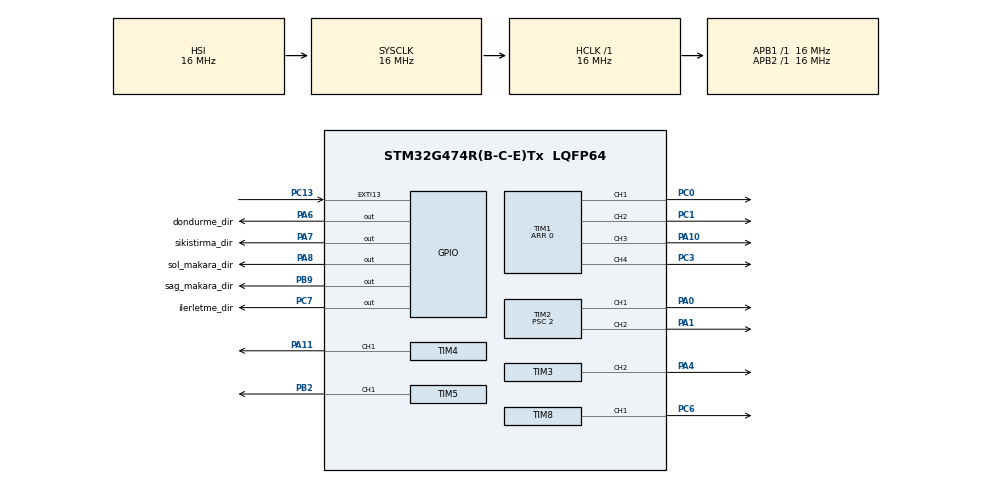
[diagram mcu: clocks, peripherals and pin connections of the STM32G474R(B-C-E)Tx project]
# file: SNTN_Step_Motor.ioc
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Mcu.Family=STM32G4
Mcu.Name=STM32G474R(B-C-E)Tx
Mcu.Package=LQFP64
NVIC.EXTI15_10_IRQn=true\:0\:0\:false\:false\:true\:true\:true\:true
NVIC.PriorityGroup=NVIC_PRIORITYGROUP_4
NVIC.TIM2_IRQn=true\:0\:0\:false\:false\:true\:true\:true\:true
NVIC.TIM3_IRQn=true\:0\:0\:false\:false\:true\:true\:true\:true
NVIC.TIM4_IRQn=true\:0\:0\:false\:false\:true\:true\:true\:true
NVIC.TIM5_IRQn=true\:0\:0\:false\:false\:true\:true\:true\:true
PA0.Signal=S_TIM2_CH1
PA1.Signal=S_TIM2_CH2
PA10.Signal=S_TIM1_CH3
PA11.Signal=S_TIM4_CH1
PA13.Mode=Serial_Wire
PA13.Signal=SYS_JTMS-SWDIO
PA14.Mode=Serial_Wire
PA14.Signal=SYS_JTCK-SWCLK
PA4.Signal=S_TIM3_CH2
PA6.GPIO_Label=dondurme_dir
PA6.Signal=GPIO_Output
PA7.GPIO_Label=sikistirma_dir
PA7.Signal=GPIO_Output
PA8.GPIO_Label=sol_makara_dir
PA8.Signal=GPIO_Output
PB2.Signal=S_TIM5_CH1
PB9.GPIO_Label=sag_makara_dir
PB9.Signal=GPIO_Output
PC0.Signal=S_TIM1_CH1
PC1.Signal=S_TIM1_CH2
PC13.Signal=GPXTI13
PC3.Signal=S_TIM1_CH4
PC6.Signal=S_TIM8_CH1
PC7.GPIO_Label=ilerletme_dir
PC7.Signal=GPIO_Output
ProjectManager.HeapSize=0x200
ProjectManager.StackSize=0x400
ProjectManager.TargetToolchain=STM32CubeIDE
RCC.AHBFreq_Value=16000000
RCC.APB1Freq_Value=16000000
RCC.APB1TimFreq_Value=16000000
RCC.APB2Freq_Value=16000000
RCC.APB2TimFreq_Value=16000000
RCC.CortexFreq_Value=16000000
RCC.EXTERNAL_CLOCK_VALUE=12288000
RCC.HCLKFreq_Value=16000000
RCC.HSE_VALUE=8000000
RCC.HSI48_VALUE=48000000
RCC.HSI_VALUE=16000000
RCC.LSE_VALUE=32768
RCC.SYSCLKFreq_VALUE=16000000
RCC.USBFreq_Value=64000000
RCC.VCOOutputFreq_Value=128000000
SH.S_TIM1_CH1.0=TIM1_CH1,Output Compare1 CH1
SH.S_TIM1_CH2.0=TIM1_CH2,Output Compare2 CH2
SH.S_TIM1_CH3.0=TIM1_CH3,Output Compare3 CH3
SH.S_TIM1_CH4.0=TIM1_CH4,Output Compare4 CH4
SH.S_TIM2_CH1.0=TIM2_CH1,PWM Generation1 CH1
SH.S_TIM2_CH2.0=TIM2_CH2,PWM Generation2 CH2
SH.S_TIM3_CH2.0=TIM3_CH2,PWM Generation2 CH2
SH.S_TIM4_CH1.0=TIM4_CH1,PWM Generation1 CH1
SH.S_TIM5_CH1.0=TIM5_CH1,PWM Generation1 CH1
SH.S_TIM8_CH1.0=TIM8_CH1,Output Compare1 CH1
TIM1.Channel-Output\ Compare1\ CH1=TIM_CHANNEL_1
TIM1.Channel-Output\ Compare2\ CH2=TIM_CHANNEL_2
TIM1.Channel-Output\ Compare3\ CH3=TIM_CHANNEL_3
TIM1.Channel-Output\ Compare4\ CH4=TIM_CHANNEL_4
TIM1.PeriodNoDither=0
TIM2.Channel-PWM\ Generation1\ CH1=TIM_CHANNEL_1
TIM2.Channel-PWM\ Generation2\ CH2=TIM_CHANNEL_2
TIM2.PeriodNoDither=65535
TIM2.Prescaler=2
TIM3.Channel-PWM\ Generation2\ CH2=TIM_CHANNEL_2
TIM3.PeriodNoDither=65535
TIM3.Prescaler=2
TIM4.Channel-PWM\ Generation1\ CH1=TIM_CHANNEL_1
TIM4.PeriodNoDither=65535
TIM4.Prescaler=1
TIM5.Channel-PWM\ Generation1\ CH1=TIM_CHANNEL_1
TIM5.PeriodNoDither=65535
TIM5.Prescaler=2
TIM8.Channel-Output\ Compare1\ CH1=TIM_CHANNEL_1
TIM8.PeriodNoDither=0
board=custom

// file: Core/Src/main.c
/* USER CODE BEGIN Header */
/**
  ******************************************************************************
  * @file           : main.c
  * @brief          : Main program body
  ******************************************************************************
  * @attention
  *
  * Copyright (c) 2023 STMicroelectronics.
  * All rights reserved.
  *
  * This software is licensed under terms that can be found in the LICENSE file
  * in the root directory of this software component.
  * If no LICENSE file comes with this software, it is provided AS-IS.
  *
  ******************************************************************************
  */
/* USER CODE END Header */
#include "main.h"

/* USER CODE BEGIN PD */
#define STEP3 600
#define STEP1 1250
#define STEP2 1400
/* USER CODE END PD */

TIM_HandleTypeDef htim1;
TIM_HandleTypeDef htim2;
TIM_HandleTypeDef htim3;
TIM_HandleTypeDef htim4;
TIM_HandleTypeDef htim5;
TIM_HandleTypeDef htim8;

/* USER CODE BEGIN PV */

int step1;
int step2;
int step3;
int step4;
int step5;

int step_number_1;
int step_number_2;
int step_number_3;
int step_number_4;
int step_number_5;

int step=0,durum=0,sayac=0;
int step_2 =0,durum_2 = 0, sayac_2=0;
int step_3 =0,durum_3 = 0, sayac_3=0;
int step_4 =0,durum_4 = 0, sayac_4=0;
int step_5 =0,durum_5 = 0, sayac_5=0;

int second_stage;
/* USER CODE END PV */

void SystemClock_Config(void);
static void MX_GPIO_Init(void);
static void MX_TIM2_Init(void);
static void MX_TIM3_Init(void);
static void MX_TIM4_Init(void);
static void MX_TIM5_Init(void);
static void MX_TIM1_Init(void);
static void MX_TIM8_Init(void);
/* USER CODE BEGIN PFP */
void HAL_GPIO_EXTI_Callback(uint16_t GPIO_Pin){
	HAL_TIM_PWM_Stop(&htim4, TIM_CHANNEL_1);
	second_stage = 1;
}
void HAL_TIM_PWM_PulseFinishedCallback(TIM_HandleTypeDef *htim)
{
	if(htim->Instance == TIM2) // eger kesme kaynagi timer1 den gelmis ise
	{
																// step fonksiyonunun içindeki while döngüsünden çikilmasi için
																							// durum degiskeni sifirlandi
	if(htim ->Channel == HAL_TIM_ACTIVE_CHANNEL_1)
	{
		sayac++;								// her kesmede sayaci arttir.
		if(sayac == step)				// eger sayac istenilen adim sayisi kadar artmis ise
		{
			HAL_TIM_PWM_Stop_IT(&htim2,TIM_CHANNEL_1);	// PWM'i durdur.
			sayac=0;																// bir sonraki komutta sayac sifirdan baslamali
			durum=0;

		}
	}

	if(htim ->Channel == HAL_TIM_ACTIVE_CHANNEL_2)
	{
		sayac_2++;								// her kesmede sayaci arttir.
		if(sayac_2 == step_2)				// eger sayac istenilen adim sayisi kadar artmis ise
		{
			HAL_TIM_PWM_Stop_IT(&htim2,TIM_CHANNEL_2);	// PWM'i durdur.
			sayac_2=0;																// bir sonraki komutta sayac sifirdan baslamali
			durum_2=0;
		}

	}
	}
	else if(htim ->Instance == TIM3)
	{
		sayac_3++;								// her kesmede sayaci arttir.
		if(sayac_3 == step_3)				// eger sayac istenilen adim sayisi kadar artmis ise
		{
			HAL_TIM_PWM_Stop_IT(&htim3,TIM_CHANNEL_2);	// PWM'i durdur.
			sayac_3=0;																// bir sonraki komutta sayac sifirdan baslamali
			durum_3=0;
		}
	}
	else if(htim ->Instance == TIM4)
	{
		sayac_4++;								// her kesmede sayaci arttir.
		if(sayac_4 == step_4)				// eger sayac istenilen adim sayisi kadar artmis ise
		{
			HAL_TIM_PWM_Stop_IT(&htim4,TIM_CHANNEL_1);	// PWM'i durdur.
			sayac_4=0;																// bir sonraki komutta sayac sifirdan baslamali
			durum_4=0;
		}

	}
	else if(htim ->Instance == TIM5)
	{
		sayac_5++;								// her kesmede sayaci arttir.
		if(sayac_5 == step_5)				// eger sayac istenilen adim sayisi kadar artmis ise
		{
			HAL_TIM_PWM_Stop_IT(&htim5,TIM_CHANNEL_1);	// PWM'i durdur.
			sayac_5=0;																// bir sonraki komutta sayac sifirdan baslamali
			durum_5=0;
		}

	}
	}

void Step(int adim ,int yon)  // step motor fonksiyonu. iki adet parametre alicak. Pals ve yön parametreleri
{
	// Baştan sona 4000 adım
	// 1 içeri
	// 0 dışarı
	step=adim;
	if(yon==0)
		HAL_GPIO_WritePin(GPIOB,GPIO_PIN_9,GPIO_PIN_RESET);	// eger yön bilgisi sifir ise DIR pini lojik 0 yapildi.
	else
		HAL_GPIO_WritePin(GPIOB,GPIO_PIN_9,GPIO_PIN_SET);	// sifirdan farkli bir deger ise DIR pini lojik 1 yapildi.
	durum=1;
	HAL_TIM_PWM_Start_IT(&htim2,TIM_CHANNEL_1);	// PWM'i baslatildi.
	while(1) // step motorun istenilen konuma gitmesi için belli bir süre gececek
	{						//	bu süre boyunca programin tekrar step fonksiyonunun içine girmesini önlemek için sonsuz döngü olusturuldu.
		if(durum==0)					// step motor istenilen konuma gittiginde durum degiskeni sifir olacak ve döngüden çikilacak.
			break;
		HAL_Delay(1);

	}

}

void Step_2(int adim_2 ,int yon_2)  // step motor fonksiyonu. iki adet parametre alicak. Pals ve yön parametreleri
{
	// Baştan sona 4500 step
	// 1 içeri
	// 0 dışarı
	step_2=adim_2;
	if(yon_2==0)
		HAL_GPIO_WritePin(GPIOA,GPIO_PIN_8,GPIO_PIN_RESET);	// eger yön bilgisi sifir ise DIR pini lojik 0 yapildi.
	else
		HAL_GPIO_WritePin(GPIOA,GPIO_PIN_8,GPIO_PIN_SET);	// sifirdan farkli bir deger ise DIR pini lojik 1 yapildi.
	durum_2=1;
	HAL_TIM_PWM_Start_IT(&htim2,TIM_CHANNEL_2);	// PWM'i baslatildi.
	while(1) // step motorun istenilen konuma gitmesi için belli bir süre gececek
	{						//	bu süre boyunca programin tekrar step fonksiyonunun içine girmesini önlemek için sonsuz döngü olusturuldu.
		if(durum_2==0)					// step motor istenilen konuma gittiginde durum degiskeni sifir olacak ve döngüden çikilacak.
			break;
		HAL_Delay(1);

	}

}

void Step_3(int adim_3 ,int yon_3)  // step motor fonksiyonu. iki adet parametre alicak. Pals ve yön parametreleri
{
	step_3=adim_3;
	if(yon_3==0)
		HAL_GPIO_WritePin(GPIOA,GPIO_PIN_7,GPIO_PIN_RESET);	// eger yön bilgisi sifir ise DIR pini lojik 0 yapildi.
	else
		HAL_GPIO_WritePin(GPIOA,GPIO_PIN_7,GPIO_PIN_SET);	// sifirdan farkli bir deger ise DIR pini lojik 1 yapildi.
	durum_3=1;
	HAL_TIM_PWM_Start_IT(&htim3,TIM_CHANNEL_2);	// PWM'i baslatildi.
	while(1) // step motorun istenilen konuma gitmesi için belli bir süre gececek
	{						//	bu süre boyunca programin tekrar step fonksiyonunun içine girmesini önlemek için sonsuz döngü olusturuldu.
		if(durum_3==0)					// step motor istenilen konuma gittiginde durum degiskeni sifir olacak ve döngüden çikilacak.
			break;
		HAL_Delay(1);

	}

}

void Step_4(int adim_4 ,int yon_4)  // step motor fonksiyonu. iki adet parametre alicak. Pals ve yön parametreleri
{
	step_4=adim_4;
	if(yon_4==0)
		HAL_GPIO_WritePin(GPIOA,GPIO_PIN_6,GPIO_PIN_RESET);	// eger yön bilgisi sifir ise DIR pini lojik 0 yapildi.
	else
		HAL_GPIO_WritePin(GPIOA,GPIO_PIN_6,GPIO_PIN_SET);	// sifirdan farkli bir deger ise DIR pini lojik 1 yapildi.
	durum_4=1;
	HAL_TIM_PWM_Start_IT(&htim4,TIM_CHANNEL_1);	// PWM'i baslatildi.
	while(1) // step motorun istenilen konuma gitmesi için belli bir süre gececek
	{						//	bu süre boyunca programin tekrar step fonksiyonunun içine girmesini önlemek için sonsuz döngü olusturuldu.
		if(durum_4==0)					// step motor istenilen konuma gittiginde durum degiskeni sifir olacak ve döngüden çikilacak.
			break;
		HAL_Delay(1);

	}

}

void Step_5(int adim_5 ,int yon_5)  // step motor fonksiyonu. iki adet parametre alicak. Pals ve yön parametreleri
{
	step_5=adim_5;
	if(yon_5==0)
		HAL_GPIO_WritePin(GPIOC,GPIO_PIN_7,GPIO_PIN_RESET);	// eger yön bilgisi sifir ise DIR pini lojik 0 yapildi.
	else
		HAL_GPIO_WritePin(GPIOC,GPIO_PIN_7,GPIO_PIN_SET);	// sifirdan farkli bir deger ise DIR pini lojik 1 yapildi.
	durum_5=1;
	HAL_TIM_PWM_Start_IT(&htim5,TIM_CHANNEL_1);	// PWM'i baslatildi.
	while(1) // step motorun istenilen konuma gitmesi için belli bir süre gececek
	{						//	bu süre boyunca programin tekrar step fonksiyonunun içine girmesini önlemek için sonsuz döngü olusturuldu.
		if(durum_5==0)					// step motor istenilen konuma gittiginde durum degiskeni sifir olacak ve döngüden çikilacak.
			break;
		HAL_Delay(1);

	}

}

void Determine_direction(int motor,int direction) {
	/*
	* Used to determine the direction of the motors
	*/
	if (motor == 1) {
		if (direction) {
			HAL_GPIO_WritePin(GPIOB, GPIO_PIN_9, GPIO_PIN_SET);
		}
		else {
			HAL_GPIO_WritePin(GPIOB, GPIO_PIN_9, GPIO_PIN_RESET);
		}
	}
	else if (motor == 2) {
		if (direction) {
			HAL_GPIO_WritePin(GPIOA, GPIO_PIN_8, GPIO_PIN_SET);
			}
		else {
			HAL_GPIO_WritePin(GPIOA, GPIO_PIN_8, GPIO_PIN_RESET);
			}
	}
	else if (motor == 3) {
			if (direction) {
				HAL_GPIO_WritePin(GPIOA, GPIO_PIN_7, GPIO_PIN_SET);
				}
			else {
				HAL_GPIO_WritePin(GPIOA, GPIO_PIN_7, GPIO_PIN_RESET);
				}
		}
	else if (motor == 4) {
			if (direction) {
				HAL_GPIO_WritePin(GPIOA, GPIO_PIN_6, GPIO_PIN_SET);
				}
			else {
				HAL_GPIO_WritePin(GPIOA, GPIO_PIN_6, GPIO_PIN_RESET);
				}
		}
	else if (motor == 5) {
			if (direction) {
				HAL_GPIO_WritePin(GPIOC, GPIO_PIN_7, GPIO_PIN_SET);
				}
			else {
				HAL_GPIO_WritePin(GPIOC, GPIO_PIN_7, GPIO_PIN_RESET);
				}
		}
}

void Multiple_Rotate(int motor,int step, int direction) {
	/*
	 * Used to determine the number of steps the motor will take
	 * motor is used to determine which motor will rotate
	 * Integer number step represents the number of steps for the motor
	 * direction is used to change the directions of the motors (0 for clockwise, something else represents counterclockwise
	 * direction)
	 * If the step value is given as 0, the motor rotates continuously
	*/
	if (motor == 1){
	step1 = 0;
	Determine_direction(motor, direction);
	step_number_1 = step;
	HAL_TIM_PWM_Start_IT(&htim2, TIM_CHANNEL_1);
	}
	else if (motor == 2) {
	step2 = 0;
	Determine_direction(motor, direction);
	step_number_2 = step;
	HAL_TIM_PWM_Start_IT(&htim2, TIM_CHANNEL_2);
	}
	else if (motor == 3){
	step3 = 0;
	Determine_direction(motor, direction);
	step_number_3 = step;
	HAL_TIM_PWM_Start_IT(&htim3, TIM_CHANNEL_2);
	}
	else if (motor == 4) {
	step4 = 0;
	Determine_direction(motor, direction);
	step_number_4 = step;
	HAL_TIM_PWM_Start_IT(&htim4, TIM_CHANNEL_1);
	}
	else if (motor == 5) {
	step5 = 0;
	Determine_direction(motor, direction);
	step_number_5 = step;
	HAL_TIM_PWM_Start_IT(&htim5, TIM_CHANNEL_1);
	}
}
/*
void HAL_TIM_PWM_PulseFinishedCallback(TIM_HandleTypeDef *htim) {
	if (htim->Instance == TIM2) {
		if (htim->Channel == HAL_TIM_ACTIVE_CHANNEL_1) {
			step1++;
			if (!step_number_1);
			else if (step1 == step_number_1) {
				HAL_TIM_PWM_Stop_IT(htim, TIM_CHANNEL_1);
			}
		}
		else if (htim->Channel == HAL_TIM_ACTIVE_CHANNEL_2) {
			step2++;
			if (!step_number_2);
			else if (step2 == step_number_2) {
				HAL_TIM_PWM_Stop_IT(htim, TIM_CHANNEL_2);
		}
		}
	}
	else if (htim->Instance == TIM3) {
		step3++;
		if (!step_number_3);
		else if (step3 == step_number_3) {
			HAL_TIM_PWM_Stop_IT(htim, TIM_CHANNEL_2);
		}
}
	else if (htim->Instance == TIM4) {
		step4++;
		if (!step_number_4);
		else if (step4 == step_number_4) {
			HAL_TIM_PWM_Stop_IT(htim, TIM_CHANNEL_1);
		}
	}
	else if (htim->Instance == TIM5) {
		step5++;
		if (!step_number_5);
		else if (step5 == step_number_5) {
			HAL_TIM_PWM_Stop_IT(htim, TIM_CHANNEL_1);
		}
	}
}
*/

/* USER CODE END PFP */

int main(void)
{

  /* MCU Configuration--------------------------------------------------------*/

  /* Reset of all peripherals, Initializes the Flash interface and the Systick. */
  HAL_Init();

  /* Configure the system clock */
  SystemClock_Config();

  /* Initialize all configured peripherals */
  MX_GPIO_Init();
  MX_TIM2_Init();
  MX_TIM3_Init();
  MX_TIM4_Init();
  MX_TIM5_Init();
  MX_TIM1_Init();
  MX_TIM8_Init();
  /* USER CODE BEGIN 2 */
    HAL_TIM_OC_Start(&htim1, TIM_CHANNEL_1);
    HAL_TIM_OC_Start(&htim1, TIM_CHANNEL_2);
    HAL_TIM_OC_Start(&htim1, TIM_CHANNEL_3);
    HAL_TIM_OC_Start(&htim1, TIM_CHANNEL_4);
    HAL_TIM_OC_Start(&htim8, TIM_CHANNEL_1);
  __HAL_TIM_SET_COMPARE(&htim2, TIM_CHANNEL_1,10000); // MAKARA 1
  __HAL_TIM_SET_COMPARE(&htim2, TIM_CHANNEL_2,10000); // MAKARA 2
  __HAL_TIM_SET_COMPARE(&htim3, TIM_CHANNEL_2,10000); //  SIKISTIRMA
  __HAL_TIM_SET_COMPARE(&htim4, TIM_CHANNEL_1,10000); //  DONDURME
  __HAL_TIM_SET_COMPARE(&htim5, TIM_CHANNEL_1,10000); //  İLERLEME

  /*
  Multiple_Rotate(1,600, 1); //MAKARA 1
  Multiple_Rotate(2,600, 0); //MAKARA 2
  */
  //Multiple_Rotate(3,100, 1); // SIKISTIRMA

  //Multiple_Rotate(3,10000, 0); // DONDURME // 1 aç, 0 sıkıştır

  //Multiple_Rotate(5,600, 0);

  /*Step(400, 1); // içe
  Step(400, 0); // dışa
  Step_2(400, 1);
  Step_2(400, 0);
  Step_3(100, 1); // sıkıştır
  Step_3(100, 0); // gevşet
  Step_4(400, 1);
  Step_4(400, 0);
  Step_5(400, 1);
  Step_5(400, 0);
  */
  HAL_TIM_PWM_Start(&htim4, TIM_CHANNEL_1);
  /* USER CODE END 2 */

  /* Infinite loop */
  /* USER CODE BEGIN WHILE */
  while (1)
  {
	  if (second_stage) {

	  Step_3(STEP3, 1); // sıkıştırma
	  Step(STEP1, 1); // sağ makara
	  Step_2(STEP2, 0); // sol makara
	  Step_3(STEP3, 1);
	  Step(STEP1, 1);
	  Step_2(STEP2, 0);
	  Step_3(STEP3, 1);
	  Step(STEP1, 1);
	  Step_2(STEP2, 0);

	  Step_3(STEP3, 1);
	  Step(STEP1, 0);
	  Step_2(STEP2, 1);
	  Step_3(STEP3, 1);
	  Step(STEP1, 0);
	  Step_2(STEP2, 1);
	  Step_3(STEP3, 1);
	  Step(STEP1, 0);
	  Step_2(STEP2, 1);

	  Step_3(STEP3, 0); // gevşetme
	  Step_4(200, 0); // döndürme

	  }
    /* USER CODE END WHILE */

  }
}

void SystemClock_Config(void)
{
  RCC_OscInitTypeDef RCC_OscInitStruct = {0};
  RCC_ClkInitTypeDef RCC_ClkInitStruct = {0};

  /** Configure the main internal regulator output voltage
  */
  HAL_PWREx_ControlVoltageScaling(PWR_REGULATOR_VOLTAGE_SCALE1);

  /** Initializes the RCC Oscillators according to the specified parameters
  * in the RCC_OscInitTypeDef structure.
  */
  RCC_OscInitStruct.OscillatorType = RCC_OSCILLATORTYPE_HSI;
  RCC_OscInitStruct.HSIState = RCC_HSI_ON;
  RCC_OscInitStruct.HSICalibrationValue = RCC_HSICALIBRATION_DEFAULT;
  RCC_OscInitStruct.PLL.PLLState = RCC_PLL_NONE;
  if (HAL_RCC_OscConfig(&RCC_OscInitStruct) != HAL_OK)
  {
    Error_Handler();
  }

  /** Initializes the CPU, AHB and APB buses clocks
  */
  RCC_ClkInitStruct.ClockType = RCC_CLOCKTYPE_HCLK|RCC_CLOCKTYPE_SYSCLK
                              |RCC_CLOCKTYPE_PCLK1|RCC_CLOCKTYPE_PCLK2;
  RCC_ClkInitStruct.SYSCLKSource = RCC_SYSCLKSOURCE_HSI;
  RCC_ClkInitStruct.AHBCLKDivider = RCC_SYSCLK_DIV1;
  RCC_ClkInitStruct.APB1CLKDivider = RCC_HCLK_DIV1;
  RCC_ClkInitStruct.APB2CLKDivider = RCC_HCLK_DIV1;

  if (HAL_RCC_ClockConfig(&RCC_ClkInitStruct, FLASH_LATENCY_0) != HAL_OK)
  {
    Error_Handler();
  }
}

static void MX_TIM1_Init(void)
{

  TIM_MasterConfigTypeDef sMasterConfig = {0};
  TIM_OC_InitTypeDef sConfigOC = {0};
  TIM_BreakDeadTimeConfigTypeDef sBreakDeadTimeConfig = {0};

  htim1.Instance = TIM1;
  htim1.Init.Prescaler = 0;
  htim1.Init.CounterMode = TIM_COUNTERMODE_UP;
  htim1.Init.Period = 0;
  htim1.Init.ClockDivision = TIM_CLOCKDIVISION_DIV1;
  htim1.Init.RepetitionCounter = 0;
  htim1.Init.AutoReloadPreload = TIM_AUTORELOAD_PRELOAD_DISABLE;
  if (HAL_TIM_OC_Init(&htim1) != HAL_OK)
  {
    Error_Handler();
  }
  sMasterConfig.MasterOutputTrigger = TIM_TRGO_RESET;
  sMasterConfig.MasterOutputTrigger2 = TIM_TRGO2_RESET;
  sMasterConfig.MasterSlaveMode = TIM_MASTERSLAVEMODE_DISABLE;
  if (HAL_TIMEx_MasterConfigSynchronization(&htim1, &sMasterConfig) != HAL_OK)
  {
    Error_Handler();
  }
  sConfigOC.OCMode = TIM_OCMODE_TIMING;
  sConfigOC.Pulse = 0;
  sConfigOC.OCPolarity = TIM_OCPOLARITY_HIGH;
  sConfigOC.OCNPolarity = TIM_OCNPOLARITY_HIGH;
  sConfigOC.OCFastMode = TIM_OCFAST_DISABLE;
  sConfigOC.OCIdleState = TIM_OCIDLESTATE_RESET;
  sConfigOC.OCNIdleState = TIM_OCNIDLESTATE_RESET;
  if (HAL_TIM_OC_ConfigChannel(&htim1, &sConfigOC, TIM_CHANNEL_1) != HAL_OK)
  {
    Error_Handler();
  }
  if (HAL_TIM_OC_ConfigChannel(&htim1, &sConfigOC, TIM_CHANNEL_2) != HAL_OK)
  {
    Error_Handler();
  }
  if (HAL_TIM_OC_ConfigChannel(&htim1, &sConfigOC, TIM_CHANNEL_3) != HAL_OK)
  {
    Error_Handler();
  }
  if (HAL_TIM_OC_ConfigChannel(&htim1, &sConfigOC, TIM_CHANNEL_4) != HAL_OK)
  {
    Error_Handler();
  }
  sBreakDeadTimeConfig.OffStateRunMode = TIM_OSSR_DISABLE;
  sBreakDeadTimeConfig.OffStateIDLEMode = TIM_OSSI_DISABLE;
  sBreakDeadTimeConfig.LockLevel = TIM_LOCKLEVEL_OFF;
  sBreakDeadTimeConfig.DeadTime = 0;
  sBreakDeadTimeConfig.BreakState = TIM_BREAK_DISABLE;
  sBreakDeadTimeConfig.BreakPolarity = TIM_BREAKPOLARITY_HIGH;
  sBreakDeadTimeConfig.BreakFilter = 0;
  sBreakDeadTimeConfig.BreakAFMode = TIM_BREAK_AFMODE_INPUT;
  sBreakDeadTimeConfig.Break2State = TIM_BREAK2_DISABLE;
  sBreakDeadTimeConfig.Break2Polarity = TIM_BREAK2POLARITY_HIGH;
  sBreakDeadTimeConfig.Break2Filter = 0;
  sBreakDeadTimeConfig.Break2AFMode = TIM_BREAK_AFMODE_INPUT;
  sBreakDeadTimeConfig.AutomaticOutput = TIM_AUTOMATICOUTPUT_DISABLE;
  if (HAL_TIMEx_ConfigBreakDeadTime(&htim1, &sBreakDeadTimeConfig) != HAL_OK)
  {
    Error_Handler();
  }
  HAL_TIM_MspPostInit(&htim1);

}

static void MX_TIM2_Init(void)
{

  TIM_MasterConfigTypeDef sMasterConfig = {0};
  TIM_OC_InitTypeDef sConfigOC = {0};

  htim2.Instance = TIM2;
  htim2.Init.Prescaler = 2;
  htim2.Init.CounterMode = TIM_COUNTERMODE_UP;
  htim2.Init.Period = 65535;
  htim2.Init.ClockDivision = TIM_CLOCKDIVISION_DIV1;
  htim2.Init.AutoReloadPreload = TIM_AUTORELOAD_PRELOAD_DISABLE;
  if (HAL_TIM_PWM_Init(&htim2) != HAL_OK)
  {
    Error_Handler();
  }
  sMasterConfig.MasterOutputTrigger = TIM_TRGO_RESET;
  sMasterConfig.MasterSlaveMode = TIM_MASTERSLAVEMODE_DISABLE;
  if (HAL_TIMEx_MasterConfigSynchronization(&htim2, &sMasterConfig) != HAL_OK)
  {
    Error_Handler();
  }
  sConfigOC.OCMode = TIM_OCMODE_PWM1;
  sConfigOC.Pulse = 0;
  sConfigOC.OCPolarity = TIM_OCPOLARITY_HIGH;
  sConfigOC.OCFastMode = TIM_OCFAST_DISABLE;
  if (HAL_TIM_PWM_ConfigChannel(&htim2, &sConfigOC, TIM_CHANNEL_1) != HAL_OK)
  {
    Error_Handler();
  }
  if (HAL_TIM_PWM_ConfigChannel(&htim2, &sConfigOC, TIM_CHANNEL_2) != HAL_OK)
  {
    Error_Handler();
  }
  HAL_TIM_MspPostInit(&htim2);

}

static void MX_TIM3_Init(void)
{

  TIM_MasterConfigTypeDef sMasterConfig = {0};
  TIM_OC_InitTypeDef sConfigOC = {0};

  htim3.Instance = TIM3;
  htim3.Init.Prescaler = 2;
  htim3.Init.CounterMode = TIM_COUNTERMODE_UP;
  htim3.Init.Period = 65535;
  htim3.Init.ClockDivision = TIM_CLOCKDIVISION_DIV1;
  htim3.Init.AutoReloadPreload = TIM_AUTORELOAD_PRELOAD_DISABLE;
  if (HAL_TIM_PWM_Init(&htim3) != HAL_OK)
  {
    Error_Handler();
  }
  sMasterConfig.MasterOutputTrigger = TIM_TRGO_RESET;
  sMasterConfig.MasterSlaveMode = TIM_MASTERSLAVEMODE_DISABLE;
  if (HAL_TIMEx_MasterConfigSynchronization(&htim3, &sMasterConfig) != HAL_OK)
  {
    Error_Handler();
  }
  sConfigOC.OCMode = TIM_OCMODE_PWM1;
  sConfigOC.Pulse = 0;
  sConfigOC.OCPolarity = TIM_OCPOLARITY_HIGH;
  sConfigOC.OCFastMode = TIM_OCFAST_DISABLE;
  if (HAL_TIM_PWM_ConfigChannel(&htim3, &sConfigOC, TIM_CHANNEL_2) != HAL_OK)
  {
    Error_Handler();
  }
  HAL_TIM_MspPostInit(&htim3);

}

static void MX_TIM4_Init(void)
{

  TIM_MasterConfigTypeDef sMasterConfig = {0};
  TIM_OC_InitTypeDef sConfigOC = {0};

  htim4.Instance = TIM4;
  htim4.Init.Prescaler = 1;
  htim4.Init.CounterMode = TIM_COUNTERMODE_UP;
  htim4.Init.Period = 65535;
  htim4.Init.ClockDivision = TIM_CLOCKDIVISION_DIV1;
  htim4.Init.AutoReloadPreload = TIM_AUTORELOAD_PRELOAD_DISABLE;
  if (HAL_TIM_PWM_Init(&htim4) != HAL_OK)
  {
    Error_Handler();
  }
  sMasterConfig.MasterOutputTrigger = TIM_TRGO_RESET;
  sMasterConfig.MasterSlaveMode = TIM_MASTERSLAVEMODE_DISABLE;
  if (HAL_TIMEx_MasterConfigSynchronization(&htim4, &sMasterConfig) != HAL_OK)
  {
    Error_Handler();
  }
  sConfigOC.OCMode = TIM_OCMODE_PWM1;
  sConfigOC.Pulse = 0;
  sConfigOC.OCPolarity = TIM_OCPOLARITY_HIGH;
  sConfigOC.OCFastMode = TIM_OCFAST_DISABLE;
  if (HAL_TIM_PWM_ConfigChannel(&htim4, &sConfigOC, TIM_CHANNEL_1) != HAL_OK)
  {
    Error_Handler();
  }
  HAL_TIM_MspPostInit(&htim4);

}

static void MX_TIM5_Init(void)
{

  TIM_MasterConfigTypeDef sMasterConfig = {0};
  TIM_OC_InitTypeDef sConfigOC = {0};

  htim5.Instance = TIM5;
  htim5.Init.Prescaler = 2;
  htim5.Init.CounterMode = TIM_COUNTERMODE_UP;
  htim5.Init.Period = 65535;
  htim5.Init.ClockDivision = TIM_CLOCKDIVISION_DIV1;
  htim5.Init.AutoReloadPreload = TIM_AUTORELOAD_PRELOAD_DISABLE;
  if (HAL_TIM_PWM_Init(&htim5) != HAL_OK)
  {
    Error_Handler();
  }
  sMasterConfig.MasterOutputTrigger = TIM_TRGO_RESET;
  sMasterConfig.MasterSlaveMode = TIM_MASTERSLAVEMODE_DISABLE;
  if (HAL_TIMEx_MasterConfigSynchronization(&htim5, &sMasterConfig) != HAL_OK)
  {
    Error_Handler();
  }
  sConfigOC.OCMode = TIM_OCMODE_PWM1;
  sConfigOC.Pulse = 0;
  sConfigOC.OCPolarity = TIM_OCPOLARITY_HIGH;
  sConfigOC.OCFastMode = TIM_OCFAST_DISABLE;
  if (HAL_TIM_PWM_ConfigChannel(&htim5, &sConfigOC, TIM_CHANNEL_1) != HAL_OK)
  {
    Error_Handler();
  }
  HAL_TIM_MspPostInit(&htim5);

}

static void MX_TIM8_Init(void)
{

  TIM_MasterConfigTypeDef sMasterConfig = {0};
  TIM_OC_InitTypeDef sConfigOC = {0};
  TIM_BreakDeadTimeConfigTypeDef sBreakDeadTimeConfig = {0};

  htim8.Instance = TIM8;
  htim8.Init.Prescaler = 0;
  htim8.Init.CounterMode = TIM_COUNTERMODE_UP;
  htim8.Init.Period = 0;
  htim8.Init.ClockDivision = TIM_CLOCKDIVISION_DIV1;
  htim8.Init.RepetitionCounter = 0;
  htim8.Init.AutoReloadPreload = TIM_AUTORELOAD_PRELOAD_DISABLE;
  if (HAL_TIM_OC_Init(&htim8) != HAL_OK)
  {
    Error_Handler();
  }
  sMasterConfig.MasterOutputTrigger = TIM_TRGO_RESET;
  sMasterConfig.MasterOutputTrigger2 = TIM_TRGO2_RESET;
  sMasterConfig.MasterSlaveMode = TIM_MASTERSLAVEMODE_DISABLE;
  if (HAL_TIMEx_MasterConfigSynchronization(&htim8, &sMasterConfig) != HAL_OK)
  {
    Error_Handler();
  }
  sConfigOC.OCMode = TIM_OCMODE_TIMING;
  sConfigOC.Pulse = 0;
  sConfigOC.OCPolarity = TIM_OCPOLARITY_HIGH;
  sConfigOC.OCNPolarity = TIM_OCNPOLARITY_HIGH;
  sConfigOC.OCFastMode = TIM_OCFAST_DISABLE;
  sConfigOC.OCIdleState = TIM_OCIDLESTATE_RESET;
  sConfigOC.OCNIdleState = TIM_OCNIDLESTATE_RESET;
  if (HAL_TIM_OC_ConfigChannel(&htim8, &sConfigOC, TIM_CHANNEL_1) != HAL_OK)
  {
    Error_Handler();
  }
  sBreakDeadTimeConfig.OffStateRunMode = TIM_OSSR_DISABLE;
  sBreakDeadTimeConfig.OffStateIDLEMode = TIM_OSSI_DISABLE;
  sBreakDeadTimeConfig.LockLevel = TIM_LOCKLEVEL_OFF;
  sBreakDeadTimeConfig.DeadTime = 0;
  sBreakDeadTimeConfig.BreakState = TIM_BREAK_DISABLE;
  sBreakDeadTimeConfig.BreakPolarity = TIM_BREAKPOLARITY_HIGH;
  sBreakDeadTimeConfig.BreakFilter = 0;
  sBreakDeadTimeConfig.BreakAFMode = TIM_BREAK_AFMODE_INPUT;
  sBreakDeadTimeConfig.Break2State = TIM_BREAK2_DISABLE;
  sBreakDeadTimeConfig.Break2Polarity = TIM_BREAK2POLARITY_HIGH;
  sBreakDeadTimeConfig.Break2Filter = 0;
  sBreakDeadTimeConfig.Break2AFMode = TIM_BREAK_AFMODE_INPUT;
  sBreakDeadTimeConfig.AutomaticOutput = TIM_AUTOMATICOUTPUT_DISABLE;
  if (HAL_TIMEx_ConfigBreakDeadTime(&htim8, &sBreakDeadTimeConfig) != HAL_OK)
  {
    Error_Handler();
  }
  HAL_TIM_MspPostInit(&htim8);

}

static void MX_GPIO_Init(void)
{
  GPIO_InitTypeDef GPIO_InitStruct = {0};

  /* GPIO Ports Clock Enable */
  __HAL_RCC_GPIOC_CLK_ENABLE();
  __HAL_RCC_GPIOA_CLK_ENABLE();
  __HAL_RCC_GPIOB_CLK_ENABLE();

  /*Configure GPIO pin Output Level */
  HAL_GPIO_WritePin(GPIOA, dondurme_dir_Pin|sikistirma_dir_Pin|sol_makara_dir_Pin, GPIO_PIN_RESET);

  /*Configure GPIO pin Output Level */
  HAL_GPIO_WritePin(ilerletme_dir_GPIO_Port, ilerletme_dir_Pin, GPIO_PIN_RESET);

  /*Configure GPIO pin Output Level */
  HAL_GPIO_WritePin(sag_makara_dir_GPIO_Port, sag_makara_dir_Pin, GPIO_PIN_RESET);

  /*Configure GPIO pin : PC13 */
  GPIO_InitStruct.Pin = GPIO_PIN_13;
  GPIO_InitStruct.Mode = GPIO_MODE_IT_RISING;
  GPIO_InitStruct.Pull = GPIO_NOPULL;
  HAL_GPIO_Init(GPIOC, &GPIO_InitStruct);

  /*Configure GPIO pins : dondurme_dir_Pin sikistirma_dir_Pin sol_makara_dir_Pin */
  GPIO_InitStruct.Pin = dondurme_dir_Pin|sikistirma_dir_Pin|sol_makara_dir_Pin;
  GPIO_InitStruct.Mode = GPIO_MODE_OUTPUT_PP;
  GPIO_InitStruct.Pull = GPIO_NOPULL;
  GPIO_InitStruct.Speed = GPIO_SPEED_FREQ_LOW;
  HAL_GPIO_Init(GPIOA, &GPIO_InitStruct);

  /*Configure GPIO pin : ilerletme_dir_Pin */
  GPIO_InitStruct.Pin = ilerletme_dir_Pin;
  GPIO_InitStruct.Mode = GPIO_MODE_OUTPUT_PP;
  GPIO_InitStruct.Pull = GPIO_NOPULL;
  GPIO_InitStruct.Speed = GPIO_SPEED_FREQ_LOW;
  HAL_GPIO_Init(ilerletme_dir_GPIO_Port, &GPIO_InitStruct);

  /*Configure GPIO pin : sag_makara_dir_Pin */
  GPIO_InitStruct.Pin = sag_makara_dir_Pin;
  GPIO_InitStruct.Mode = GPIO_MODE_OUTPUT_PP;
  GPIO_InitStruct.Pull = GPIO_NOPULL;
  GPIO_InitStruct.Speed = GPIO_SPEED_FREQ_LOW;
  HAL_GPIO_Init(sag_makara_dir_GPIO_Port, &GPIO_InitStruct);

  /* EXTI interrupt init*/
  HAL_NVIC_SetPriority(EXTI15_10_IRQn, 0, 0);
  HAL_NVIC_EnableIRQ(EXTI15_10_IRQn);

}

void Error_Handler(void)
{
  __disable_irq();
  while (1)
  {
  }
}
